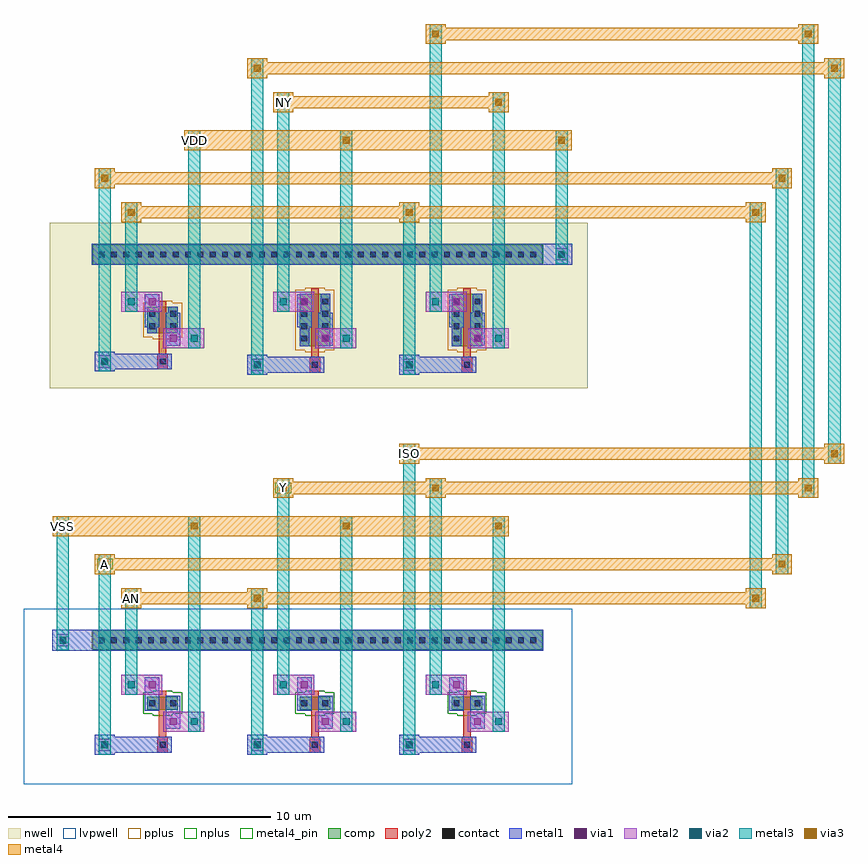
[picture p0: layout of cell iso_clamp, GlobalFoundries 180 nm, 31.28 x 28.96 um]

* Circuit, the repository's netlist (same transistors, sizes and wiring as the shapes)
.subckt iso_clamp A ISO Y VDD VSS
XMIP AN A VDD VDD pfet_03v3 w=1u l=0.28u
XMIN AN A VSS VSS nfet_03v3 w=0.5u l=0.28u
XMP1 NY ISO VDD VDD pfet_03v3 w=2u l=0.28u
XMP2 Y AN NY VDD pfet_03v3 w=2u l=0.28u
XMN1 Y AN VSS VSS nfet_03v3 w=0.5u l=0.28u
XMN2 Y ISO VSS VSS nfet_03v3 w=0.5u l=0.28u
.ends iso_clamp

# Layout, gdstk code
import gdstk
lib = gdstk.Library(unit=1e-6, precision=1e-09)
def R(c, l, rs):  # rectangles x0, y0, x1, y1
    for r in rs: c.add(gdstk.rectangle(r[:2], r[2:], *l))
def A(c, l, x, y, w, h, nx, ny, dx, dy):  # array of equal rectangles
    R(c, l, [(x+i*dx, y+j*dy, x+i*dx+w, y+j*dy+h) for i in range(nx) for j in range(ny)])
nwell = (21, 0)
comp = (22, 0)
poly2 = (30, 0)
pplus = (31, 0)
nplus = (32, 0)
contact = (33, 0)
metal1 = (34, 0)
via1 = (35, 0)
metal2 = (36, 0)
via2 = (38, 0)
via3 = (40, 0)
metal3 = (42, 0)
metal4 = (46, 0)
metal4_pin = (46, 10)
lvpwell = (204, 0)

iso_clamp = lib.new_cell('iso_clamp')
R(iso_clamp, nwell, [(-1.5,14.58,19,20.88)])
A(iso_clamp, comp, 2.22, 2.33, 1.16, 0.5, 3, 1, 5.8, 0)
R(iso_clamp, comp, [(0.13,4.61,17.27,5.35), (8.02,16.18,9.18,18.18), (13.82,16.18,14.98,18.18), (2.22,16.68,3.38,17.68), (0.13,19.31,17.27,20.05)])
A(iso_clamp, poly2, 2.6, 0.7, 0.4, 0.6, 3, 1, 5.8, 0)
A(iso_clamp, poly2, 2.66, 1.3, 0.28, 1.75, 3, 1, 5.8, 0)
R(iso_clamp, poly2, [(8.4,15.18,8.8,15.78), (14.2,15.18,14.6,15.78), (2.6,15.3,3,15.9), (8.46,15.78,8.74,18.4), (14.26,15.78,14.54,18.4), (2.66,15.9,2.94,17.9)])
R(iso_clamp, pplus, [(0.11,4.59,17.29,4.635), (0.105,4.635,17.295,5.325), (0.11,5.325,17.29,5.37), (8.23,15.95,8.97,16.02), (14.03,15.95,14.77,16.02), (7.86,16.02,9.34,18.34), (13.66,16.02,15.14,18.34), (2.43,16.45,3.17,16.52), (2.06,16.52,3.54,17.84), (2.43,17.84,3.17,17.91), (8.23,18.34,8.97,18.41), (14.03,18.34,14.77,18.41)])
A(iso_clamp, nplus, 2.43, 2.1, 0.74, 0.07, 3, 2, 5.8, 0.89)
A(iso_clamp, nplus, 2.06, 2.17, 1.48, 0.82, 3, 1, 5.8, 0)
R(iso_clamp, nplus, [(0.11,19.29,17.29,19.335), (0.105,19.335,17.295,20.025), (0.11,20.025,17.29,20.07)])
A(iso_clamp, contact, 2.69, 0.89, 0.22, 0.22, 3, 1, 5.8, 0)
A(iso_clamp, contact, 0.365, 4.87, 0.22, 0.22, 36, 2, 0.47, 14.7)
A(iso_clamp, contact, 8.09, 16.365, 0.22, 0.22, 1, 4, 0, 0.47)
A(iso_clamp, contact, 8.89, 16.365, 0.22, 0.22, 1, 4, 0, 0.47)
A(iso_clamp, contact, 13.89, 16.365, 0.22, 0.22, 1, 4, 0, 0.47)
A(iso_clamp, contact, 14.69, 16.365, 0.22, 0.22, 1, 4, 0, 0.47)
R(iso_clamp, contact, [(2.29,2.47,2.51,2.69), (3.09,2.47,3.31,2.69), (8.09,2.47,8.31,2.69), (8.89,2.47,9.11,2.69), (13.89,2.47,14.11,2.69), (14.69,2.47,14.91,2.69), (8.49,15.37,8.71,15.59), (14.29,15.37,14.51,15.59), (2.69,15.49,2.91,15.71), (2.29,16.835,2.51,17.055), (3.09,16.835,3.31,17.055), (2.29,17.305,2.51,17.525), (3.09,17.305,3.31,17.525)])
A(iso_clamp, metal1, 0.22, 0.62, 0.76, 0.08, 3, 2, 5.8, 0.68)
A(iso_clamp, metal1, 0.22, 0.7, 2.93, 0.6, 3, 1, 5.8, 0)
A(iso_clamp, metal1, 2.92, 1.6, 0.56, 1.26, 3, 2, 5.8, 14.6)
A(iso_clamp, metal1, 2.12, 2.3, 0.56, 1.26, 3, 2, 5.8, 14.6)
R(iso_clamp, metal1, [(-1.4,4.58,17.3,5.38), (6.02,15.1,6.78,15.18), (11.82,15.1,12.58,15.18), (6.02,15.18,8.95,15.78), (11.82,15.18,14.75,15.78), (0.22,15.22,0.98,15.3), (0.22,15.3,3.15,15.9), (6.02,15.78,6.78,15.86), (11.82,15.78,12.58,15.86), (0.22,15.9,0.98,15.98), (8.02,16.18,8.38,16.9), (8.82,16.18,9.18,16.2), (13.82,16.18,14.18,16.9), (14.62,16.18,14.98,16.2), (2.22,16.68,2.58,16.9), (3.02,17.46,3.38,17.68), (8.82,17.46,9.18,18.18), (14.62,17.46,14.98,18.18), (8.02,18.16,8.38,18.18), (13.82,18.16,14.18,18.18), (0.1,19.28,18.4,20.08)])
A(iso_clamp, via1, 0.47, 0.87, 0.26, 0.26, 3, 1, 5.8, 0)
A(iso_clamp, via1, 3.07, 1.75, 0.26, 0.26, 3, 2, 5.8, 14.6)
A(iso_clamp, via1, 2.27, 3.15, 0.26, 0.26, 3, 2, 5.8, 14.6)
R(iso_clamp, via1, [(-1.13,4.85,-0.87,5.11), (6.27,15.35,6.53,15.61), (12.07,15.35,12.33,15.61), (0.47,15.47,0.73,15.73), (17.87,19.55,18.13,19.81)])
A(iso_clamp, metal2, 0.37, 0.77, 0.46, 0.46, 3, 1, 5.8, 0)
A(iso_clamp, metal2, 2.82, 1.5, 1.56, 0.76, 3, 2, 5.8, 14.6)
A(iso_clamp, metal2, 1.22, 2.9, 1.56, 0.76, 3, 2, 5.8, 14.6)
R(iso_clamp, metal2, [(-1.23,4.75,-0.77,5.21), (6.17,15.25,6.63,15.71), (11.97,15.25,12.43,15.71), (0.37,15.37,0.83,15.83), (17.77,19.45,18.23,19.91)])
A(iso_clamp, via2, 0.47, 0.87, 0.26, 0.26, 3, 1, 5.8, 0)
A(iso_clamp, via2, 3.87, 1.75, 0.26, 0.26, 3, 2, 5.8, 14.6)
A(iso_clamp, via2, 1.47, 3.15, 0.26, 0.26, 3, 2, 5.8, 14.6)
R(iso_clamp, via2, [(-1.13,4.85,-0.87,5.11), (6.27,15.35,6.53,15.61), (12.07,15.35,12.33,15.61), (0.47,15.47,0.73,15.73), (17.87,19.55,18.13,19.81)])
A(iso_clamp, via3, 3.87, 9.2, 0.26, 0.26, 3, 1, 5.8, 0)
R(iso_clamp, via3, [(1.47,6.45,1.73,6.71), (6.27,6.45,6.53,6.71), (25.27,6.45,25.53,6.71), (0.47,7.75,0.73,8.01), (26.27,7.75,26.53,8.01), (-1.13,9.2,-0.87,9.46), (7.27,10.65,7.53,10.91), (13.07,10.65,13.33,10.91), (27.27,10.65,27.53,10.91), (12.07,11.95,12.33,12.21), (28.27,11.95,28.53,12.21), (1.47,21.15,1.73,21.41), (12.07,21.15,12.33,21.41), (25.27,21.15,25.53,21.41), (0.47,22.45,0.73,22.71), (26.27,22.45,26.53,22.71), (3.87,23.9,4.13,24.16), (9.67,23.9,9.93,24.16), (17.87,23.9,18.13,24.16), (7.27,25.35,7.53,25.61), (15.47,25.35,15.73,25.61), (6.27,26.65,6.53,26.91), (28.27,26.65,28.53,26.91), (13.07,27.95,13.33,28.21), (27.27,27.95,27.53,28.21)])
A(iso_clamp, metal3, 3.77, 1.5, 0.46, 8.21, 3, 1, 5.8, 0)
R(iso_clamp, metal3, [(0.37,0.62,0.83,8.26), (6.17,0.62,6.63,6.96), (11.97,0.62,12.43,12.46), (1.37,2.9,1.83,6.96), (7.17,2.9,7.63,11.16), (12.97,2.9,13.43,11.16), (-1.23,4.6,-0.77,9.71), (25.17,6.2,25.63,21.66), (26.17,7.5,26.63,22.96), (27.17,10.4,27.63,28.46), (28.17,11.7,28.63,27.16), (6.17,15.1,6.63,27.16), (11.97,15.1,12.43,21.66), (0.37,15.22,0.83,22.96), (3.77,16.1,4.23,24.41), (9.57,16.1,10.03,24.41), (15.37,16.1,15.83,25.86), (1.37,17.5,1.83,21.66), (7.17,17.5,7.63,25.86), (12.97,17.5,13.43,28.46), (17.77,19.3,18.23,24.41)])
R(iso_clamp, metal4, [(1.22,6.2,1.98,6.35), (6.02,6.2,6.78,6.35), (25.02,6.2,25.78,6.35), (1.22,6.35,25.78,6.81), (1.22,6.81,1.98,6.96), (6.02,6.81,6.78,6.96), (25.02,6.81,25.78,6.96), (0.22,7.5,0.98,7.65), (26.02,7.5,26.78,7.65), (0.22,7.65,26.78,8.11), (0.22,8.11,0.98,8.26), (26.02,8.11,26.78,8.26), (-1.38,8.95,15.98,9.71), (7.02,10.4,7.78,10.55), (12.82,10.4,13.58,10.55), (27.02,10.4,27.78,10.55), (7.02,10.55,27.78,11.01), (7.02,11.01,7.78,11.16), (12.82,11.01,13.58,11.16), (27.02,11.01,27.78,11.16), (11.82,11.7,12.58,11.85), (28.02,11.7,28.78,11.85), (11.82,11.85,28.78,12.31), (11.82,12.31,12.58,12.46), (28.02,12.31,28.78,12.46), (1.22,20.9,1.98,21.05), (11.82,20.9,12.58,21.05), (25.02,20.9,25.78,21.05), (1.22,21.05,25.78,21.51), (1.22,21.51,1.98,21.66), (11.82,21.51,12.58,21.66), (25.02,21.51,25.78,21.66), (0.22,22.2,0.98,22.35), (26.02,22.2,26.78,22.35), (0.22,22.35,26.78,22.81), (0.22,22.81,0.98,22.96), (26.02,22.81,26.78,22.96), (3.62,23.65,18.38,24.41), (7.02,25.1,7.78,25.25), (15.22,25.1,15.98,25.25), (7.02,25.25,15.98,25.71), (7.02,25.71,7.78,25.86), (15.22,25.71,15.98,25.86), (6.02,26.4,6.78,26.55), (28.02,26.4,28.78,26.55), (6.02,26.55,28.78,27.01), (6.02,27.01,6.78,27.16), (28.02,27.01,28.78,27.16), (12.82,27.7,13.58,27.85), (27.02,27.7,27.78,27.85), (12.82,27.85,27.78,28.31), (12.82,28.31,13.58,28.46), (27.02,28.31,27.78,28.46)])
R(iso_clamp, metal4_pin, [(0.3,7.68,0.9,8.08), (-1.3,9.13,-0.7,9.53), (7.1,10.58,7.7,10.98), (11.9,11.88,12.5,12.28), (3.7,23.83,4.3,24.23)])
R(iso_clamp, lvpwell, [(-2.5,-0.5,18.4,6.18)])
iso_clamp.add(gdstk.Label('AN', (1.6,6.58), layer=46, texttype=0))
iso_clamp.add(gdstk.Label('NY', (7.4,25.48), layer=46, texttype=0))
iso_clamp.add(gdstk.Label('A', (0.6,7.88), layer=46, texttype=10))
iso_clamp.add(gdstk.Label('ISO', (12.2,12.08), layer=46, texttype=10))
iso_clamp.add(gdstk.Label('Y', (7.4,10.78), layer=46, texttype=10))
iso_clamp.add(gdstk.Label('VDD', (4,24.03), layer=46, texttype=10))
iso_clamp.add(gdstk.Label('VSS', (-1,9.33), layer=46, texttype=10))

lib.write_gds('iso_clamp.gds')
